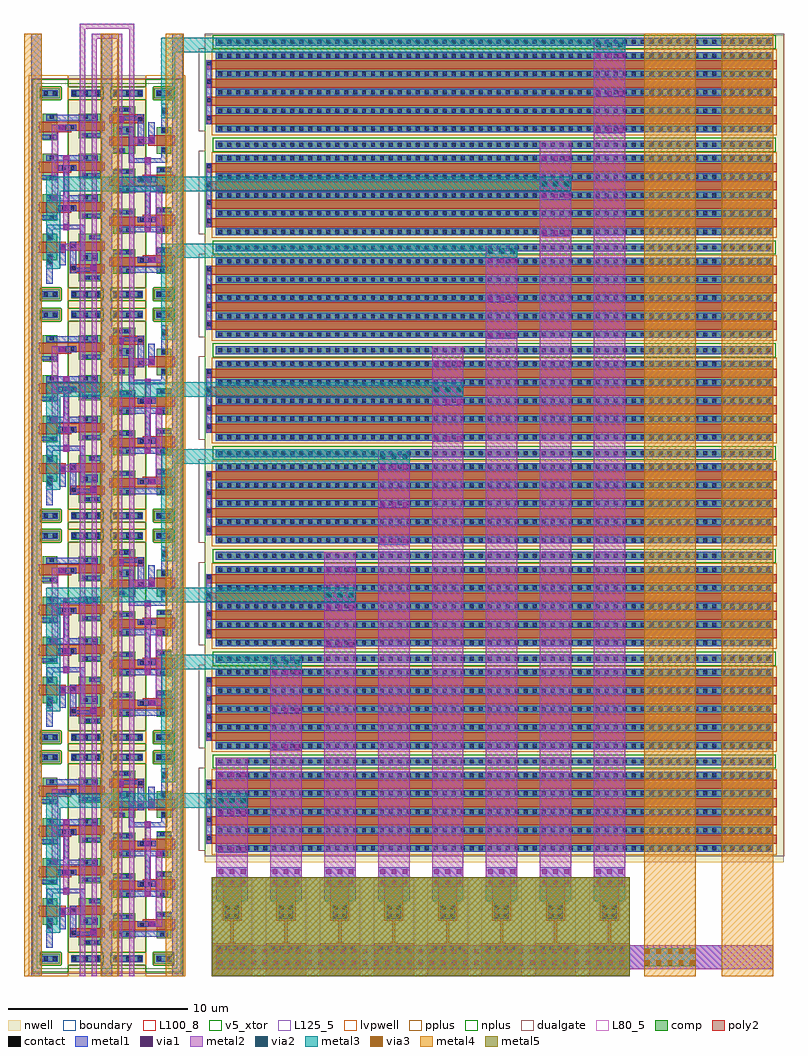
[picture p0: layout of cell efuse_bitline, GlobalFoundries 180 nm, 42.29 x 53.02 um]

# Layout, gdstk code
from math import pi, radians
import gdstk
lib = gdstk.Library(unit=1e-6, precision=1e-09)
def R(c, l, rs):  # rectangles x0, y0, x1, y1
    for r in rs: c.add(gdstk.rectangle(r[:2], r[2:], *l))
def A(c, l, x, y, w, h, nx, ny, dx, dy):  # array of equal rectangles
    R(c, l, [(x+i*dx, y+j*dy, x+i*dx+w, y+j*dy+h) for i in range(nx) for j in range(ny)])
def P(c, l, *ps):  # polygons
    for p in ps: c.add(gdstk.Polygon(p, *l))
boundary = (0, 0)
nwell = (21, 0)
comp = (22, 0)
poly2 = (30, 0)
pplus = (31, 0)
nplus = (32, 0)
contact = (33, 0)
metal1 = (34, 0)
via1 = (35, 0)
metal2 = (36, 0)
via2 = (38, 0)
via3 = (40, 0)
metal3 = (42, 0)
metal4 = (46, 0)
dualgate = (55, 0)
L80_5 = (80, 5)
metal5 = (81, 0)
L100_8 = (100, 8)
v5_xtor = (112, 1)
L125_5 = (125, 5)
lvpwell = (204, 0)

efuse_cell = lib.new_cell('efuse_cell')
R(efuse_cell, poly2, [(3.69,0,5.53,2.26), (0,0.6,2.43,1.66), (2.43,1.04,3.69,1.22)])
R(efuse_cell, pplus, [(0,0,5.53,2.26)])
A(efuse_cell, contact, 3.845, 0.315, 0.22, 0.22, 1, 4, 0, 0.47)
R(efuse_cell, contact, [(3.845,0.315,4.065,0.535), (1.585,0.785,1.805,1.005), (1.585,0.785,1.805,1.005), (2.055,0.785,2.275,1.005), (1.585,1.255,1.805,1.475), (2.055,1.255,2.275,1.475)])
R(efuse_cell, metal1, [(3.785,0.255,4.125,2.005), (1.335,0.725,2.335,1.535)])
R(efuse_cell, L80_5, [(0,0,5.53,2.26)])
R(efuse_cell, L100_8, [(0,0.6,2.43,1.66)])
R(efuse_cell, L125_5, [(2.43,1.04,3.69,1.22)])

pmos = lib.new_cell('pmos')
R(pmos, nwell, [(0.08,0.02,6.08,32.22)])
R(pmos, comp, [(0.24,0.62,0.68,31.62), (1.04,0.62,5.48,31.62)])
A(pmos, poly2, 1.48, 0.08, 0.5, 0.32, 4, 1, 1.02, 0)
A(pmos, poly2, 1.48, 0.4, 0.5, 31.44, 4, 1, 1.02, 0)
R(pmos, pplus, [(0.88,0.39,5.64,31.85)])
R(pmos, nplus, [(0.08,0.46,0.84,31.78)])
A(pmos, contact, 1.55, 0.15, 0.22, 0.22, 4, 1, 1.02, 0)
A(pmos, contact, 0.35, 0.76, 0.22, 0.22, 1, 62, 0, 0.5)
A(pmos, contact, 1.11, 0.76, 0.22, 0.22, 5, 62, 1.02, 0.5)
A(pmos, metal1, 2.06, 0.61, 0.37, 31.02, 4, 1, 1.02, 0)
R(pmos, metal1, [(1.48,0.08,5.04,0.38), (1.03,0.61,1.41,31.63), (0.24,0.62,0.68,31.62)])
R(pmos, dualgate, [(0.8,-0.32,5.44,0.08), (0,0,5.72,32.24)])
R(pmos, v5_xtor, [(0,0,5.72,32.24)])

efuse_bitline_block_0 = lib.new_cell('efuse_bitline_block_0')
A(efuse_bitline_block_0, metal1, 0.28, 0.575, 0.38, 0.38, 37, 2, 0.62, 0.62)
A(efuse_bitline_block_0, metal1, 0.255, 4.195, 1.75, 1.885, 8, 1, 3, 0)
A(efuse_bitline_block_0, metal1, 0.32, 5.03, 1.62, 1, 8, 1, 3, 0)
A(efuse_bitline_block_0, metal1, 0.32, 5.03, 0.38, 0.38, 3, 2, 0.62, 0.62)
A(efuse_bitline_block_0, metal1, 3.32, 5.03, 0.38, 0.38, 3, 2, 0.62, 0.62)
A(efuse_bitline_block_0, metal1, 6.32, 5.03, 0.38, 0.38, 3, 2, 0.62, 0.62)
A(efuse_bitline_block_0, metal1, 9.32, 5.03, 0.38, 0.38, 3, 2, 0.62, 0.62)
A(efuse_bitline_block_0, metal1, 12.32, 5.03, 0.38, 0.38, 3, 2, 0.62, 0.62)
A(efuse_bitline_block_0, metal1, 15.32, 5.03, 0.38, 0.38, 3, 2, 0.62, 0.62)
A(efuse_bitline_block_0, metal1, 18.32, 5.03, 0.38, 0.38, 3, 2, 0.62, 0.62)
A(efuse_bitline_block_0, metal1, 21.32, 5.03, 0.38, 0.38, 3, 2, 0.62, 0.62)
A(efuse_bitline_block_0, metal1, 0.32, 6.87, 0.38, 0.38, 3, 2, 0.62, 2.04)
A(efuse_bitline_block_0, metal1, 0.32, 11.01, 0.38, 0.38, 3, 1, 0.62, 0)
A(efuse_bitline_block_0, metal1, 3.32, 12.59, 0.38, 0.38, 3, 2, 0.62, 2.04)
A(efuse_bitline_block_0, metal1, 3.32, 16.73, 0.38, 0.38, 3, 1, 0.62, 0)
A(efuse_bitline_block_0, metal1, 6.32, 18.31, 0.38, 0.38, 3, 2, 0.62, 2.04)
A(efuse_bitline_block_0, metal1, 6.32, 22.45, 0.38, 0.38, 3, 1, 0.62, 0)
A(efuse_bitline_block_0, metal1, 9.32, 24.03, 0.38, 0.38, 3, 2, 0.62, 2.04)
A(efuse_bitline_block_0, metal1, 9.32, 28.17, 0.38, 0.38, 3, 1, 0.62, 0)
A(efuse_bitline_block_0, metal1, 12.32, 29.75, 0.38, 0.38, 3, 2, 0.62, 2.04)
A(efuse_bitline_block_0, metal1, 12.32, 33.89, 0.38, 0.38, 3, 1, 0.62, 0)
A(efuse_bitline_block_0, metal1, 15.32, 35.47, 0.38, 0.38, 3, 2, 0.62, 2.04)
A(efuse_bitline_block_0, metal1, 15.32, 39.61, 0.38, 0.38, 3, 1, 0.62, 0)
A(efuse_bitline_block_0, metal1, 18.32, 41.19, 0.38, 0.38, 3, 2, 0.62, 2.04)
A(efuse_bitline_block_0, metal1, 18.32, 45.33, 0.38, 0.38, 3, 1, 0.62, 0)
A(efuse_bitline_block_0, metal1, 21.32, 46.91, 0.38, 0.38, 3, 2, 0.62, 2.04)
A(efuse_bitline_block_0, metal1, 21.32, 51.05, 0.38, 0.38, 3, 1, 0.62, 0)
R(efuse_bitline_block_0, metal1, [(0.255,0.405,31.23,1.745), (0.28,0.575,22.98,1.575), (0.32,6.87,1.94,7.25), (0.32,8.91,1.94,9.29), (0.32,11.01,1.94,11.39), (3.32,12.59,4.94,12.97), (3.32,14.63,4.94,15.01), (3.32,16.73,4.94,17.11), (6.32,18.31,7.94,18.69), (6.32,20.35,7.94,20.73), (6.32,22.45,7.94,22.83), (9.32,24.03,10.94,24.41), (9.32,26.07,10.94,26.45), (9.32,28.17,10.94,28.55), (12.32,29.75,13.94,30.13), (12.32,31.79,13.94,32.17), (12.32,33.89,13.94,34.27), (15.32,35.47,16.94,35.85), (15.32,37.51,16.94,37.89), (15.32,39.61,16.94,39.99), (18.32,41.19,19.94,41.57), (18.32,43.23,19.94,43.61), (18.32,45.33,19.94,45.71), (21.32,46.91,22.94,47.29), (21.32,48.95,22.94,49.33), (21.32,51.05,22.94,51.43)])
A(efuse_bitline_block_0, via1, 0.34, 0.635, 0.26, 0.26, 37, 2, 0.62, 0.62)
A(efuse_bitline_block_0, via1, 0.38, 5.09, 0.26, 0.26, 3, 2, 0.62, 0.62)
A(efuse_bitline_block_0, via1, 3.38, 5.09, 0.26, 0.26, 3, 2, 0.62, 0.62)
A(efuse_bitline_block_0, via1, 6.38, 5.09, 0.26, 0.26, 3, 2, 0.62, 0.62)
A(efuse_bitline_block_0, via1, 9.38, 5.09, 0.26, 0.26, 3, 2, 0.62, 0.62)
A(efuse_bitline_block_0, via1, 12.38, 5.09, 0.26, 0.26, 3, 2, 0.62, 0.62)
A(efuse_bitline_block_0, via1, 15.38, 5.09, 0.26, 0.26, 3, 2, 0.62, 0.62)
A(efuse_bitline_block_0, via1, 18.38, 5.09, 0.26, 0.26, 3, 2, 0.62, 0.62)
A(efuse_bitline_block_0, via1, 21.38, 5.09, 0.26, 0.26, 3, 2, 0.62, 0.62)
A(efuse_bitline_block_0, via1, 0.38, 6.93, 0.26, 0.26, 3, 2, 0.62, 2.04)
A(efuse_bitline_block_0, via1, 0.38, 11.07, 0.26, 0.26, 3, 1, 0.62, 0)
A(efuse_bitline_block_0, via1, 3.38, 12.65, 0.26, 0.26, 3, 2, 0.62, 2.04)
A(efuse_bitline_block_0, via1, 3.38, 16.79, 0.26, 0.26, 3, 1, 0.62, 0)
A(efuse_bitline_block_0, via1, 6.38, 18.37, 0.26, 0.26, 3, 2, 0.62, 2.04)
A(efuse_bitline_block_0, via1, 6.38, 22.51, 0.26, 0.26, 3, 1, 0.62, 0)
A(efuse_bitline_block_0, via1, 9.38, 24.09, 0.26, 0.26, 3, 2, 0.62, 2.04)
A(efuse_bitline_block_0, via1, 9.38, 28.23, 0.26, 0.26, 3, 1, 0.62, 0)
A(efuse_bitline_block_0, via1, 12.38, 29.81, 0.26, 0.26, 3, 2, 0.62, 2.04)
A(efuse_bitline_block_0, via1, 12.38, 33.95, 0.26, 0.26, 3, 1, 0.62, 0)
A(efuse_bitline_block_0, via1, 15.38, 35.53, 0.26, 0.26, 3, 2, 0.62, 2.04)
A(efuse_bitline_block_0, via1, 15.38, 39.67, 0.26, 0.26, 3, 1, 0.62, 0)
A(efuse_bitline_block_0, via1, 18.38, 41.25, 0.26, 0.26, 3, 2, 0.62, 2.04)
A(efuse_bitline_block_0, via1, 18.38, 45.39, 0.26, 0.26, 3, 1, 0.62, 0)
A(efuse_bitline_block_0, via1, 21.38, 46.97, 0.26, 0.26, 3, 2, 0.62, 2.04)
A(efuse_bitline_block_0, via1, 21.38, 51.11, 0.26, 0.26, 3, 1, 0.62, 0)
A(efuse_bitline_block_0, metal2, 0.28, 0.575, 0.38, 0.38, 37, 2, 0.62, 0.62)
A(efuse_bitline_block_0, metal2, 0.32, 5.03, 0.38, 0.38, 3, 2, 0.62, 0.62)
A(efuse_bitline_block_0, metal2, 0.32, 5.03, 1.62, 1, 8, 1, 3, 0)
A(efuse_bitline_block_0, metal2, 3.32, 5.03, 0.38, 0.38, 3, 2, 0.62, 0.62)
A(efuse_bitline_block_0, metal2, 6.32, 5.03, 0.38, 0.38, 3, 2, 0.62, 0.62)
A(efuse_bitline_block_0, metal2, 9.32, 5.03, 0.38, 0.38, 3, 2, 0.62, 0.62)
A(efuse_bitline_block_0, metal2, 12.32, 5.03, 0.38, 0.38, 3, 2, 0.62, 0.62)
A(efuse_bitline_block_0, metal2, 15.32, 5.03, 0.38, 0.38, 3, 2, 0.62, 0.62)
A(efuse_bitline_block_0, metal2, 18.32, 5.03, 0.38, 0.38, 3, 2, 0.62, 0.62)
A(efuse_bitline_block_0, metal2, 21.32, 5.03, 0.38, 0.38, 3, 2, 0.62, 0.62)
A(efuse_bitline_block_0, metal2, 0.32, 6.87, 0.38, 0.38, 3, 2, 0.62, 2.04)
A(efuse_bitline_block_0, metal2, 0.32, 11.01, 0.38, 0.38, 3, 1, 0.62, 0)
A(efuse_bitline_block_0, metal2, 3.32, 12.59, 0.38, 0.38, 3, 2, 0.62, 2.04)
A(efuse_bitline_block_0, metal2, 3.32, 16.73, 0.38, 0.38, 3, 1, 0.62, 0)
A(efuse_bitline_block_0, metal2, 6.32, 18.31, 0.38, 0.38, 3, 2, 0.62, 2.04)
A(efuse_bitline_block_0, metal2, 6.32, 22.45, 0.38, 0.38, 3, 1, 0.62, 0)
A(efuse_bitline_block_0, metal2, 9.32, 24.03, 0.38, 0.38, 3, 2, 0.62, 2.04)
A(efuse_bitline_block_0, metal2, 9.32, 28.17, 0.38, 0.38, 3, 1, 0.62, 0)
A(efuse_bitline_block_0, metal2, 12.32, 29.75, 0.38, 0.38, 3, 2, 0.62, 2.04)
A(efuse_bitline_block_0, metal2, 12.32, 33.89, 0.38, 0.38, 3, 1, 0.62, 0)
A(efuse_bitline_block_0, metal2, 15.32, 35.47, 0.38, 0.38, 3, 2, 0.62, 2.04)
A(efuse_bitline_block_0, metal2, 15.32, 39.61, 0.38, 0.38, 3, 1, 0.62, 0)
A(efuse_bitline_block_0, metal2, 18.32, 41.19, 0.38, 0.38, 3, 2, 0.62, 2.04)
A(efuse_bitline_block_0, metal2, 18.32, 45.33, 0.38, 0.38, 3, 1, 0.62, 0)
A(efuse_bitline_block_0, metal2, 21.32, 46.91, 0.38, 0.38, 3, 2, 0.62, 2.04)
A(efuse_bitline_block_0, metal2, 21.32, 51.05, 0.38, 0.38, 3, 1, 0.62, 0)
R(efuse_bitline_block_0, metal2, [(0.255,0.405,23.005,1.745), (0.255,0.405,31.23,1.745), (0.28,0.575,22.98,1.575), (0.255,4.98,2.005,12.18), (3.255,4.98,5.005,17.9), (6.255,4.98,8.005,23.62), (9.255,4.98,11.005,29.34), (12.255,4.98,14.005,35.06), (15.255,4.98,17.005,40.78), (18.255,4.98,20.005,46.5), (21.255,4.98,23.005,52.22), (0.32,6.87,1.94,7.25), (0.32,8.91,1.94,9.29), (0.32,11.01,1.94,11.39), (3.32,12.59,4.94,12.97), (3.32,14.63,4.94,15.01), (3.32,16.73,4.94,17.11), (6.32,18.31,7.94,18.69), (6.32,20.35,7.94,20.73), (6.32,22.45,7.94,22.83), (9.32,24.03,10.94,24.41), (9.32,26.07,10.94,26.45), (9.32,28.17,10.94,28.55), (12.32,29.75,13.94,30.13), (12.32,31.79,13.94,32.17), (12.32,33.89,13.94,34.27), (15.32,35.47,16.94,35.85), (15.32,37.51,16.94,37.89), (15.32,39.61,16.94,39.99), (18.32,41.19,19.94,41.57), (18.32,43.23,19.94,43.61), (18.32,45.33,19.94,45.71), (21.32,46.91,22.94,47.29), (21.32,48.95,22.94,49.33), (21.32,51.05,22.94,51.43)])
R(efuse_bitline_block_0, metal3, [(0,0,23.26,5.53)])
R(efuse_bitline_block_0, metal4, [(0,0,23.26,5.53)])
R(efuse_bitline_block_0, metal5, [(0,0,23.26,5.53)])
efuse_bitline_block_0.add(gdstk.Reference(efuse_cell, (0,5.53), rotation=3*pi/2))
efuse_bitline_block_0.add(gdstk.Reference(pmos, (-0.4,12.42), rotation=3*pi/2))
efuse_bitline_block_0.add(gdstk.Reference(efuse_cell, (3,5.53), rotation=3*pi/2))
efuse_bitline_block_0.add(gdstk.Reference(pmos, (-0.4,18.14), rotation=3*pi/2))
efuse_bitline_block_0.add(gdstk.Reference(efuse_cell, (6,5.53), rotation=3*pi/2))
efuse_bitline_block_0.add(gdstk.Reference(pmos, (-0.4,23.86), rotation=3*pi/2))
efuse_bitline_block_0.add(gdstk.Reference(efuse_cell, (9,5.53), rotation=3*pi/2))
efuse_bitline_block_0.add(gdstk.Reference(pmos, (-0.4,29.58), rotation=3*pi/2))
efuse_bitline_block_0.add(gdstk.Reference(efuse_cell, (12,5.53), rotation=3*pi/2))
efuse_bitline_block_0.add(gdstk.Reference(pmos, (-0.4,35.3), rotation=3*pi/2))
efuse_bitline_block_0.add(gdstk.Reference(efuse_cell, (15,5.53), rotation=3*pi/2))
efuse_bitline_block_0.add(gdstk.Reference(pmos, (-0.4,41.02), rotation=3*pi/2))
efuse_bitline_block_0.add(gdstk.Reference(efuse_cell, (18,5.53), rotation=3*pi/2))
efuse_bitline_block_0.add(gdstk.Reference(pmos, (-0.4,46.74), rotation=3*pi/2))
efuse_bitline_block_0.add(gdstk.Reference(efuse_cell, (21,5.53), rotation=3*pi/2))
efuse_bitline_block_0.add(gdstk.Reference(pmos, (-0.4,52.46), rotation=3*pi/2))

efuse_senseamp_2 = lib.new_cell('efuse_senseamp_2')
A(efuse_senseamp_2, boundary, 4.91, 0.43, 2.24, 3.92, 3, 1, 2.24, 0)
R(efuse_senseamp_2, boundary, [(0.43,0.43,1.55,4.35), (1.55,0.43,4.91,4.35), (11.63,0.43,12.75,4.35)])
A(efuse_senseamp_2, nwell, 4.48, 0, 3.1, 2.59, 3, 1, 2.24, 0)
R(efuse_senseamp_2, nwell, [(0,0,1.98,2.59), (1.12,0,5.34,2.59), (11.2,0,13.18,2.59)])
A(efuse_senseamp_2, comp, 5.19, 0.77, 1.38, 1.22, 3, 1, 2.24, 0)
A(efuse_senseamp_2, comp, 5.09, 3.19, 1.48, 0.82, 3, 1, 2.24, 0)
R(efuse_senseamp_2, comp, [(1.73,0.77,4.36,1.99), (0.79,0.79,1.19,2.43), (11.99,0.79,12.39,2.43), (0.71,3.07,1.27,4.07), (11.91,3.07,12.47,4.07), (2.88,3.19,4.36,4.01)])
R(efuse_senseamp_2, poly2, [(2.17,0.55,2.67,2.314), (3.42,0.55,3.92,2.315), (2.17,2.314,2.67,2.45), (3.42,2.315,3.92,2.45), (3.32,2.73,3.92,4.23)])
P(efuse_senseamp_2, poly2, [(5.63,0.55),(5.63,2.42),(5.53,2.42),(5.53,4.23),(6.13,4.23),(6.13,0.55)],
  [(7.87,0.55),(7.87,2.42),(7.77,2.42),(7.77,4.23),(8.37,4.23),(8.37,0.55)],
  [(10.11,0.55),(10.11,2.42),(10.01,2.42),(10.01,4.23),(10.61,4.23),(10.61,0.55)])
A(efuse_senseamp_2, pplus, 4.71, 0.23, 2.64, 2.36, 3, 1, 2.24, 0)
R(efuse_senseamp_2, pplus, [(1.35,0.23,5.11,2.59), (0.63,2.99,1.35,4.15), (11.83,2.99,12.55,4.15)])
P(efuse_senseamp_2, pplus, [(0.23,0.23),(0.23,2.59),(0.63,2.59),(0.63,0.63),(1.35,0.63),(1.35,2.59),(1.75,2.59),(1.75,0.23)],
  [(11.43,0.23),(11.43,2.59),(11.83,2.59),(11.83,0.63),(12.55,0.63),(12.55,2.59),(12.95,2.59),(12.95,0.23)])
A(efuse_senseamp_2, nplus, 4.71, 2.59, 2.64, 1.96, 3, 1, 2.24, 0)
R(efuse_senseamp_2, nplus, [(1.35,2.59,5.11,4.55)])
P(efuse_senseamp_2, nplus, [(0.63,0.63),(0.63,2.59),(0.23,2.59),(0.23,4.55),(1.75,4.55),(1.75,2.59),(1.35,2.59),(1.35,0.63),(1.35,4.15),(0.63,4.15),(0.63,2.99),(1.35,2.99),(1.35,0.63)],
  [(11.83,0.63),(11.83,2.59),(11.43,2.59),(11.43,4.55),(12.95,4.55),(12.95,2.59),(12.55,2.59),(12.55,0.63),(12.55,4.15),(11.83,4.15),(11.83,2.99),(12.55,2.99),(12.55,0.63)])
A(efuse_senseamp_2, contact, 0.88, 0.86, 0.22, 0.22, 1, 3, 0, 0.64)
A(efuse_senseamp_2, contact, 12.08, 0.86, 0.22, 0.22, 1, 3, 0, 0.64)
A(efuse_senseamp_2, contact, 5.7, 2.24, 0.22, 0.22, 3, 2, 2.24, 0.47)
A(efuse_senseamp_2, contact, 5.16, 3.395, 0.22, 0.22, 6, 1, 1.12, 0)
R(efuse_senseamp_2, contact, [(1.8,0.92,2.02,1.14), (2.95,1.03,3.17,1.25), (5.26,1.03,5.48,1.25), (6.28,1.03,6.5,1.25), (7.5,1.03,7.72,1.25), (8.52,1.03,8.74,1.25), (9.74,1.03,9.96,1.25), (10.76,1.03,10.98,1.25), (4.07,1.12,4.29,1.34), (1.8,1.39,2.02,1.61), (2.95,1.5,3.17,1.72), (5.26,1.5,5.48,1.72), (6.28,1.5,6.5,1.72), (7.5,1.5,7.72,1.72), (8.52,1.5,8.74,1.72), (9.74,1.5,9.96,1.72), (10.76,1.5,10.98,1.72), (2.325,2.16,2.545,2.38), (3.565,2.16,3.785,2.38), (3.515,2.8,3.735,3.02), (0.88,3.225,1.1,3.445), (12.08,3.225,12.3,3.445), (2.95,3.5,3.17,3.72), (4.07,3.5,4.29,3.72), (0.88,3.73,1.1,3.95), (12.08,3.73,12.3,3.95)])
A(efuse_senseamp_2, metal1, 6.175, 0.96, 0.33, 2.86, 3, 1, 2.24, 0)
A(efuse_senseamp_2, metal1, 5.62, 2.15, 0.325, 1, 3, 1, 2.24, 0)
R(efuse_senseamp_2, metal1, [(2.865,0.96,3.27,1.91), (2.255,1.01,2.635,1.37), (2.255,1.37,2.485,1.625), (2.255,1.625,2.485,2.5), (3.27,1.65,4.615,1.91), (4.615,1.65,4.875,3.78), (2.17,2.14,3.92,2.5), (4.555,2.52,4.935,2.87), (6.505,2.535,7.86,2.8), (2.62,2.73,3.82,3.08), (1.585,3.44,3.23,3.82), (4.01,3.44,4.875,3.78), (1.55,4.05,4.91,4.65)])
P(efuse_senseamp_2, metal1, [(1.55,0.13),(1.55,0.73),(1.795,0.73),(1.795,1.71),(2.025,1.71),(2.025,0.73),(4.065,0.73),(4.065,1.42),(4.295,1.42),(4.295,0.73),(4.91,0.73),(4.91,0.13)],
  [(0.82,3.165),(0.82,4.05),(0.43,4.05),(0.43,4.65),(1.55,4.65),(1.55,4.05),(1.16,4.05),(1.16,3.165)],
  [(0.43,0.13),(0.43,0.73),(0.82,0.73),(0.82,2.42),(1.16,2.42),(1.16,0.73),(1.55,0.73),(1.55,0.13)],
  [(12.02,3.165),(12.02,4.05),(11.63,4.05),(11.63,4.65),(12.75,4.65),(12.75,4.05),(12.36,4.05),(12.36,3.165)],
  [(11.63,0.13),(11.63,0.73),(12.02,0.73),(12.02,2.42),(12.36,2.42),(12.36,0.73),(12.75,0.73),(12.75,0.13)],
  [(4.91,0.13),(4.91,0.73),(5.255,0.73),(5.255,1.82),(5.485,1.82),(5.485,0.73),(7.15,0.73),(7.15,0.13)],
  [(5.155,3.19),(5.155,4.05),(4.91,4.05),(4.91,4.65),(7.15,4.65),(7.15,4.05),(5.385,4.05),(5.385,3.19)],
  [(7.15,0.13),(7.15,0.73),(7.495,0.73),(7.495,1.82),(7.725,1.82),(7.725,0.73),(9.39,0.73),(9.39,0.13)],
  [(7.395,3.19),(7.395,4.05),(7.15,4.05),(7.15,4.65),(9.39,4.65),(9.39,4.05),(7.625,4.05),(7.625,3.19)],
  [(9.39,0.13),(9.39,0.73),(9.735,0.73),(9.735,1.82),(9.965,1.82),(9.965,0.73),(11.63,0.73),(11.63,0.13)],
  [(9.635,3.19),(9.635,4.05),(9.39,4.05),(9.39,4.65),(11.63,4.65),(11.63,4.05),(9.865,4.05),(9.865,3.19)])
R(efuse_senseamp_2, via1, [(2.315,1.07,2.575,1.33), (8.445,2.565,8.705,2.825), (4.615,2.575,4.875,2.835), (5.655,2.575,5.915,2.835), (3.5,2.78,3.76,3.04), (10.13,2.825,10.39,3.085), (6.225,3.195,6.485,3.455)])
R(efuse_senseamp_2, metal2, [(2.255,1.01,2.635,1.37), (3.44,1.655,3.82,3.08), (4.555,2.52,5.535,2.87), (5.535,2.52,8.745,2.87), (10.1,2.745,10.425,3.5), (6.185,3.15,9.395,3.5), (6.185,3.15,10.425,3.5)])
A(efuse_senseamp_2, dualgate, 4.63, 0.15, 2.8, 4.48, 3, 1, 2.24, 0)
R(efuse_senseamp_2, dualgate, [(0.15,0.15,1.83,4.63), (1.27,0.15,5.19,4.63), (11.35,0.15,13.03,4.63)])
A(efuse_senseamp_2, v5_xtor, 4.91, 0.43, 2.24, 3.92, 3, 1, 2.24, 0)
R(efuse_senseamp_2, v5_xtor, [(0.43,0.43,1.55,4.35), (1.55,0.43,4.91,4.35), (11.63,0.43,12.75,4.35)])
A(efuse_senseamp_2, lvpwell, 4.48, 2.59, 3.1, 2.19, 3, 1, 2.24, 0)
R(efuse_senseamp_2, lvpwell, [(0,2.59,1.98,4.78), (1.12,2.59,5.34,4.78), (11.2,2.59,13.18,4.78)])

efuse_bitline = lib.new_cell('efuse_bitline')
A(efuse_bitline, metal1, -10.05, 0, 0.6, 52.46, 3, 1, 3.92, 0)
A(efuse_bitline, metal1, 24.06, 0.575, 0.38, 0.38, 5, 2, 0.62, 0.62)
A(efuse_bitline, metal1, -9.22, 2.64, 0.38, 0.38, 1, 4, 0, 12.32)
A(efuse_bitline, metal1, -2.82, 11.005, 0.38, 0.38, 1, 4, 0, 12.32)
R(efuse_bitline, metal1, [(24.06,0.575,26.92,1.575)])
A(efuse_bitline, via1, 24.12, 0.635, 0.26, 0.26, 5, 2, 0.62, 0.62)
A(efuse_bitline, via1, -9.16, 2.7, 0.26, 0.26, 1, 4, 0, 12.32)
A(efuse_bitline, via1, -2.76, 11.065, 0.26, 0.26, 1, 4, 0, 12.32)
A(efuse_bitline, metal2, 24.06, 0.575, 0.38, 0.38, 5, 2, 0.62, 0.62)
A(efuse_bitline, metal2, -9.22, 2.64, 0.38, 0.38, 1, 4, 0, 12.32)
A(efuse_bitline, metal2, 0.32, 9.59, 0.38, 0.38, 3, 1, 0.62, 0)
A(efuse_bitline, metal2, -2.82, 11.005, 0.38, 0.38, 1, 4, 0, 12.32)
A(efuse_bitline, metal2, 3.32, 17.31, 0.38, 0.38, 3, 1, 0.62, 0)
A(efuse_bitline, metal2, 6.32, 21.03, 0.38, 0.38, 3, 1, 0.62, 0)
A(efuse_bitline, metal2, 9.32, 28.75, 0.38, 0.38, 3, 1, 0.62, 0)
A(efuse_bitline, metal2, 12.32, 32.47, 0.38, 0.38, 3, 1, 0.62, 0)
A(efuse_bitline, metal2, 15.32, 40.19, 0.38, 0.38, 3, 1, 0.62, 0)
A(efuse_bitline, metal2, 18.32, 43.91, 0.38, 0.38, 3, 1, 0.62, 0)
A(efuse_bitline, metal2, 21.32, 51.63, 0.38, 0.38, 3, 1, 0.62, 0)
R(efuse_bitline, metal2, [(-7.335,0,-7.055,53.02), (-6.69,0,-6.41,52.46), (-5.25,0,-4.97,52.46), (-4.605,0,-4.325,53.02), (24.06,0.575,26.92,1.575), (0.32,9.59,1.94,9.97), (3.32,17.31,4.94,17.69), (6.32,21.03,7.94,21.41), (9.32,28.75,10.94,29.13), (12.32,32.47,13.94,32.85), (15.32,40.19,16.94,40.57), (18.32,43.91,19.94,44.29), (21.32,51.63,22.94,52.01), (-6.69,52.18,-4.97,52.46), (-7.335,52.74,-4.325,53.02)])
A(efuse_bitline, via2, 24.12, 0.635, 0.26, 0.26, 5, 2, 0.62, 0.62)
A(efuse_bitline, via2, -9.16, 2.7, 0.26, 0.26, 1, 4, 0, 12.32)
A(efuse_bitline, via2, 0.38, 9.65, 0.26, 0.26, 3, 1, 0.62, 0)
A(efuse_bitline, via2, -2.76, 11.065, 0.26, 0.26, 1, 4, 0, 12.32)
A(efuse_bitline, via2, 3.38, 17.37, 0.26, 0.26, 3, 1, 0.62, 0)
A(efuse_bitline, via2, 6.38, 21.09, 0.26, 0.26, 3, 1, 0.62, 0)
A(efuse_bitline, via2, 9.38, 28.81, 0.26, 0.26, 3, 1, 0.62, 0)
A(efuse_bitline, via2, 12.38, 32.53, 0.26, 0.26, 3, 1, 0.62, 0)
A(efuse_bitline, via2, 15.38, 40.25, 0.26, 0.26, 3, 1, 0.62, 0)
A(efuse_bitline, via2, 18.38, 43.97, 0.26, 0.26, 3, 1, 0.62, 0)
A(efuse_bitline, via2, 21.38, 51.69, 0.26, 0.26, 3, 1, 0.62, 0)
A(efuse_bitline, via3, 24.12, 0.635, 0.26, 0.26, 5, 2, 0.62, 0.62)
A(efuse_bitline, metal3, 24.06, 0.575, 0.38, 0.38, 5, 2, 0.62, 0.62)
A(efuse_bitline, metal3, -9.22, 2.64, 0.38, 0.38, 1, 4, 0, 12.32)
A(efuse_bitline, metal3, 0.32, 9.59, 0.38, 0.38, 3, 1, 0.62, 0)
A(efuse_bitline, metal3, -2.82, 11.005, 0.38, 0.38, 1, 4, 0, 12.32)
A(efuse_bitline, metal3, 3.32, 17.31, 0.38, 0.38, 3, 1, 0.62, 0)
A(efuse_bitline, metal3, 6.32, 21.03, 0.38, 0.38, 3, 1, 0.62, 0)
A(efuse_bitline, metal3, 9.32, 28.75, 0.38, 0.38, 3, 1, 0.62, 0)
A(efuse_bitline, metal3, 12.32, 32.47, 0.38, 0.38, 3, 1, 0.62, 0)
A(efuse_bitline, metal3, 15.32, 40.19, 0.38, 0.38, 3, 1, 0.62, 0)
A(efuse_bitline, metal3, 18.32, 43.91, 0.38, 0.38, 3, 1, 0.62, 0)
A(efuse_bitline, metal3, 21.32, 51.63, 0.38, 0.38, 3, 1, 0.62, 0)
R(efuse_bitline, metal3, [(24.06,0.575,26.92,1.575), (-9.22,2.43,-8.42,9.38), (-9.22,9.38,2.005,10.18), (0.32,9.59,1.94,9.97), (-2.82,10.795,-2.02,17.1), (-9.22,14.75,-8.42,20.82), (-2.82,17.1,5.005,17.9), (3.32,17.31,4.94,17.69), (-9.22,20.82,8.005,21.62), (6.32,21.03,7.94,21.41), (-2.82,23.115,-2.02,28.54), (-9.22,27.07,-8.42,32.26), (-2.82,28.54,11.005,29.34), (9.32,28.75,10.94,29.13), (-9.22,32.26,14.005,33.06), (12.32,32.47,13.94,32.85), (-2.82,35.435,-2.02,39.98), (-9.22,39.39,-8.42,43.7), (-2.82,39.98,17.005,40.78), (15.32,40.19,16.94,40.57), (-9.22,43.7,20.005,44.5), (18.32,43.91,19.94,44.29), (-2.82,47.755,-2.02,51.42), (-2.82,51.42,23.005,52.22), (21.32,51.63,22.94,52.01)])
A(efuse_bitline, metal4, 24.06, 0.575, 0.38, 0.38, 5, 2, 0.62, 0.62)
R(efuse_bitline, metal4, [(-10.45,0,-9.45,52.46), (-6.19,0,-5.19,52.46), (-2.55,0,-1.55,52.46), (24.06,0,26.92,52.46), (28.37,0,31.23,52.46), (24.06,0.575,26.92,1.575)])
efuse_bitline.add(gdstk.Reference(efuse_bitline_block_0, (0,0)))
efuse_bitline.add(gdstk.Reference(efuse_senseamp_2, (-5.4,0), rotation=pi/2))
efuse_bitline.add(gdstk.Reference(efuse_senseamp_2, (-6.26,13.18), rotation=3*pi/2))
efuse_bitline.add(gdstk.Reference(efuse_senseamp_2, (-5.4,12.32), rotation=pi/2))
efuse_bitline.add(gdstk.Reference(efuse_senseamp_2, (-6.26,25.5), rotation=3*pi/2))
efuse_bitline.add(gdstk.Reference(efuse_senseamp_2, (-5.4,24.64), rotation=pi/2))
efuse_bitline.add(gdstk.Reference(efuse_senseamp_2, (-6.26,37.82), rotation=3*pi/2))
efuse_bitline.add(gdstk.Reference(efuse_senseamp_2, (-5.4,36.96), rotation=pi/2))
efuse_bitline.add(gdstk.Reference(efuse_senseamp_2, (-6.26,50.14), rotation=3*pi/2))

lib.write_gds('efuse_bitline.gds')
